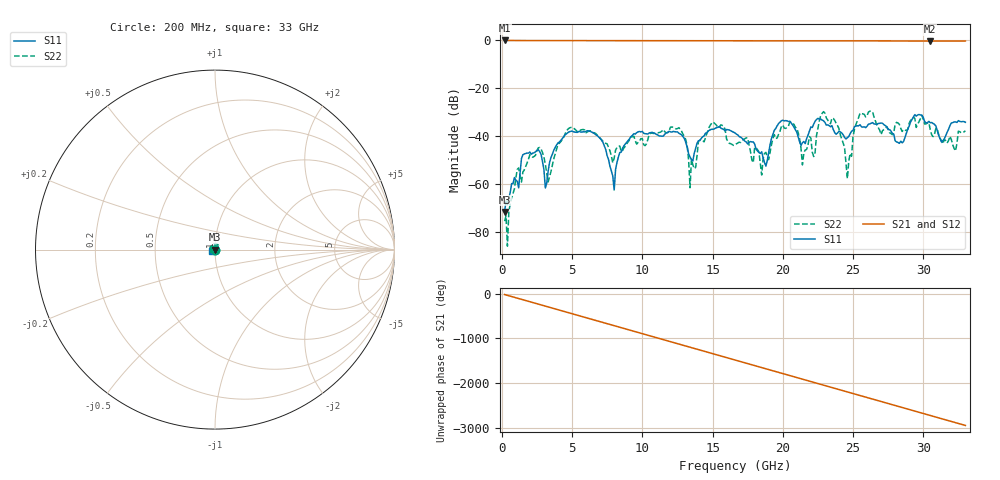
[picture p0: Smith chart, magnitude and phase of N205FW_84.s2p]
# GHZ S RI R 50
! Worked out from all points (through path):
!   329 points, 200 MHz to 33 GHz, reference 50 ohm
!   highest |S21| = -0.02 dB at 200 MHz (marker M1); lowest = -0.3 dB at 30.5 GHz (marker M2)
!   group delay of S21, straight-line fit = 248 ps
!   lowest |S11| = -71.8 dB at 200 MHz (marker M3), VSWR 1.00, Z = 50 - j0.00413 ohm
!   |S11| at or under -10 dB: start of sweep to end of sweep
!   |S22| runs from -86.1 to -29.6 dB; largest |S21 - S12| = 0.0022
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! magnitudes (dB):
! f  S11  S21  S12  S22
! 200 MHz  -71.8  0.0  0.0  -75.7
! 1.5 GHz  -47.9  -0.1  -0.1  -55.1
! 2.7 GHz  -46.6  -0.1  -0.1  -44.8
! 3.1 GHz  -61.8  -0.1  -0.1  -51.9
! 5.7 GHz  -38.4  -0.1  -0.1  -37.4
! 7.2 GHz  -42.7  -0.1  -0.1  -42.2
! 8 GHz  -62.6  -0.1  -0.1  -49.2
! 9.2 GHz  -40.2  -0.1  -0.1  -40.6
! 11.2 GHz  -40.0  -0.2  -0.2  -38.5
! 12.8 GHz  -39.5  -0.2  -0.2  -38.0
! 13.4 GHz  -48.8  -0.2  -0.2  -61.7
! 15 GHz  -37.2  -0.1  -0.1  -34.2
! 16.6 GHz  -38.7  -0.2  -0.2  -43.8
! 18.8 GHz  -52.6  -0.2  -0.2  -46.9
! 19.9 GHz  -33.7  -0.2  -0.2  -36.1
! 22.1 GHz  -36.4  -0.2  -0.2  -46.8
! 22.9 GHz  -33.6  -0.2  -0.2  -29.8
! 24.6 GHz  -40.7  -0.2  -0.2  -57.9
! 25.5 GHz  -35.3  -0.2  -0.2  -30.4
! 27.6 GHz  -37.3  -0.2  -0.2  -38.7
! 30.5 GHz  -34.5  -0.3  -0.3  -37.4
! 33 GHz  -34.3  -0.2  -0.2  -37.9
